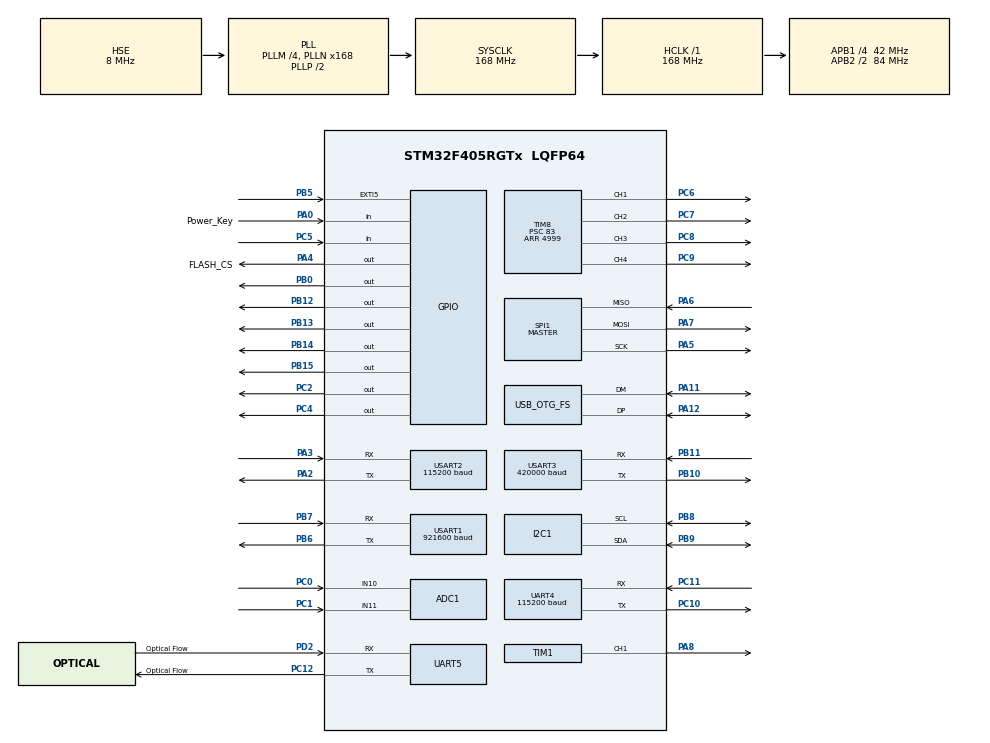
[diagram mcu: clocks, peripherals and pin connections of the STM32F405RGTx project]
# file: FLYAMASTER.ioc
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ADC1.Channel-2\#ChannelRegularConversion=ADC_CHANNEL_10
ADC1.Channel-3\#ChannelRegularConversion=ADC_CHANNEL_10
ADC1.ContinuousConvMode=ENABLE
ADC1.DMAContinuousRequests=ENABLE
ADC1.NbrOfConversion=2
ADC1.NbrOfConversionFlag=1
ADC1.Rank-2\#ChannelRegularConversion=1
ADC1.Rank-3\#ChannelRegularConversion=2
ADC1.SamplingTime-2\#ChannelRegularConversion=ADC_SAMPLETIME_3CYCLES
ADC1.SamplingTime-3\#ChannelRegularConversion=ADC_SAMPLETIME_3CYCLES
ADC1.master=1
Dma.ADC1.2.Direction=DMA_PERIPH_TO_MEMORY
Dma.ADC1.2.FIFOMode=DMA_FIFOMODE_DISABLE
Dma.ADC1.2.Instance=DMA2_Stream4
Dma.ADC1.2.MemDataAlignment=DMA_MDATAALIGN_HALFWORD
Dma.ADC1.2.MemInc=DMA_MINC_ENABLE
Dma.ADC1.2.Mode=DMA_CIRCULAR
Dma.ADC1.2.PeriphDataAlignment=DMA_PDATAALIGN_HALFWORD
Dma.ADC1.2.PeriphInc=DMA_PINC_DISABLE
Dma.ADC1.2.Priority=DMA_PRIORITY_LOW
Dma.Request0=USART1_TX
Dma.Request1=UART4_RX
Dma.Request2=ADC1
Dma.Request3=USART1_RX
Dma.Request4=UART4_TX
Dma.Request5=TIM1_CH1
Dma.Request6=USART3_RX
Dma.Request7=USART3_TX
Dma.Request8=UART5_RX
Dma.Request9=USART2_TX
Dma.TIM1_CH1.5.Direction=DMA_MEMORY_TO_PERIPH
Dma.TIM1_CH1.5.FIFOMode=DMA_FIFOMODE_DISABLE
Dma.TIM1_CH1.5.Instance=DMA2_Stream1
Dma.TIM1_CH1.5.MemDataAlignment=DMA_MDATAALIGN_HALFWORD
Dma.TIM1_CH1.5.MemInc=DMA_MINC_ENABLE
Dma.TIM1_CH1.5.Mode=DMA_NORMAL
Dma.TIM1_CH1.5.PeriphDataAlignment=DMA_PDATAALIGN_HALFWORD
Dma.TIM1_CH1.5.PeriphInc=DMA_PINC_DISABLE
Dma.TIM1_CH1.5.Priority=DMA_PRIORITY_LOW
Dma.UART4_RX.1.Direction=DMA_PERIPH_TO_MEMORY
Dma.UART4_RX.1.FIFOMode=DMA_FIFOMODE_DISABLE
Dma.UART4_RX.1.Instance=DMA1_Stream2
Dma.UART4_RX.1.MemDataAlignment=DMA_MDATAALIGN_BYTE
Dma.UART4_RX.1.MemInc=DMA_MINC_ENABLE
Dma.UART4_RX.1.Mode=DMA_CIRCULAR
Dma.UART4_RX.1.PeriphDataAlignment=DMA_PDATAALIGN_BYTE
Dma.UART4_RX.1.PeriphInc=DMA_PINC_DISABLE
Dma.UART4_RX.1.Priority=DMA_PRIORITY_MEDIUM
Dma.UART4_TX.4.Direction=DMA_MEMORY_TO_PERIPH
Dma.UART4_TX.4.FIFOMode=DMA_FIFOMODE_DISABLE
Dma.UART4_TX.4.Instance=DMA1_Stream4
Dma.UART4_TX.4.MemDataAlignment=DMA_MDATAALIGN_BYTE
Dma.UART4_TX.4.MemInc=DMA_MINC_ENABLE
Dma.UART4_TX.4.Mode=DMA_NORMAL
Dma.UART4_TX.4.PeriphDataAlignment=DMA_PDATAALIGN_BYTE
Dma.UART4_TX.4.PeriphInc=DMA_PINC_DISABLE
Dma.UART4_TX.4.Priority=DMA_PRIORITY_MEDIUM
Dma.UART5_RX.8.Direction=DMA_PERIPH_TO_MEMORY
Dma.UART5_RX.8.FIFOMode=DMA_FIFOMODE_DISABLE
Dma.UART5_RX.8.Instance=DMA1_Stream0
Dma.UART5_RX.8.MemDataAlignment=DMA_MDATAALIGN_BYTE
Dma.UART5_RX.8.MemInc=DMA_MINC_ENABLE
Dma.UART5_RX.8.Mode=DMA_CIRCULAR
Dma.UART5_RX.8.PeriphDataAlignment=DMA_PDATAALIGN_BYTE
Dma.UART5_RX.8.PeriphInc=DMA_PINC_DISABLE
Dma.UART5_RX.8.Priority=DMA_PRIORITY_LOW
Dma.USART1_RX.3.Direction=DMA_PERIPH_TO_MEMORY
Dma.USART1_RX.3.FIFOMode=DMA_FIFOMODE_DISABLE
Dma.USART1_RX.3.Instance=DMA2_Stream2
Dma.USART1_RX.3.MemDataAlignment=DMA_MDATAALIGN_BYTE
Dma.USART1_RX.3.MemInc=DMA_MINC_ENABLE
Dma.USART1_RX.3.Mode=DMA_NORMAL
Dma.USART1_RX.3.PeriphDataAlignment=DMA_PDATAALIGN_BYTE
Dma.USART1_RX.3.PeriphInc=DMA_PINC_DISABLE
Dma.USART1_RX.3.Priority=DMA_PRIORITY_MEDIUM
Dma.USART1_TX.0.Direction=DMA_MEMORY_TO_PERIPH
Dma.USART1_TX.0.FIFOMode=DMA_FIFOMODE_DISABLE
Dma.USART1_TX.0.Instance=DMA2_Stream7
Dma.USART1_TX.0.MemDataAlignment=DMA_MDATAALIGN_BYTE
Dma.USART1_TX.0.MemInc=DMA_MINC_ENABLE
Dma.USART1_TX.0.Mode=DMA_NORMAL
Dma.USART1_TX.0.PeriphDataAlignment=DMA_PDATAALIGN_BYTE
Dma.USART1_TX.0.PeriphInc=DMA_PINC_DISABLE
Dma.USART1_TX.0.Priority=DMA_PRIORITY_LOW
Dma.USART2_TX.9.Direction=DMA_MEMORY_TO_PERIPH
Dma.USART2_TX.9.FIFOMode=DMA_FIFOMODE_DISABLE
Dma.USART2_TX.9.Instance=DMA1_Stream6
Dma.USART2_TX.9.MemDataAlignment=DMA_MDATAALIGN_BYTE
Dma.USART2_TX.9.MemInc=DMA_MINC_ENABLE
Dma.USART2_TX.9.Mode=DMA_NORMAL
Dma.USART2_TX.9.PeriphDataAlignment=DMA_PDATAALIGN_BYTE
Dma.USART2_TX.9.PeriphInc=DMA_PINC_DISABLE
Dma.USART2_TX.9.Priority=DMA_PRIORITY_LOW
Dma.USART3_RX.6.Direction=DMA_PERIPH_TO_MEMORY
Dma.USART3_RX.6.FIFOMode=DMA_FIFOMODE_DISABLE
Dma.USART3_RX.6.Instance=DMA1_Stream1
Dma.USART3_RX.6.MemDataAlignment=DMA_MDATAALIGN_BYTE
Dma.USART3_RX.6.MemInc=DMA_MINC_ENABLE
Dma.USART3_RX.6.Mode=DMA_CIRCULAR
Dma.USART3_RX.6.PeriphDataAlignment=DMA_PDATAALIGN_BYTE
Dma.USART3_RX.6.PeriphInc=DMA_PINC_DISABLE
Dma.USART3_RX.6.Priority=DMA_PRIORITY_VERY_HIGH
Dma.USART3_TX.7.Direction=DMA_MEMORY_TO_PERIPH
Dma.USART3_TX.7.FIFOMode=DMA_FIFOMODE_DISABLE
Dma.USART3_TX.7.Instance=DMA1_Stream3
Dma.USART3_TX.7.MemDataAlignment=DMA_MDATAALIGN_BYTE
Dma.USART3_TX.7.MemInc=DMA_MINC_ENABLE
Dma.USART3_TX.7.Mode=DMA_NORMAL
Dma.USART3_TX.7.PeriphDataAlignment=DMA_PDATAALIGN_BYTE
Dma.USART3_TX.7.PeriphInc=DMA_PINC_DISABLE
Dma.USART3_TX.7.Priority=DMA_PRIORITY_MEDIUM
FREERTOS.Tasks01=defaultTask,24,256,StartDefaultTask,Default,NULL,Dynamic,NULL,NULL;imu_task,48,512,StartTask02,Default,NULL,Dynamic,NULL,NULL;ctl_task,40,1024,StartTask03,Default,NULL,Dynamic,NULL,NULL;log_task,16,1024,StartLogTask,Default,NULL,Dynamic,NULL,NULL;comm_task,24,512,StartCommTask,Default,NULL,Dynamic,NULL,NULL;gps_task,16,512,StartTask06,Default,NULL,Dynamic,NULL,NULL
FREERTOS.configTOTAL_HEAP_SIZE=32768
FREERTOS.configUSE_NEWLIB_REENTRANT=1
Mcu.Family=STM32F4
Mcu.Name=STM32F405RGTx
Mcu.Package=LQFP64
NVIC.DMA1_Stream0_IRQn=true\:5\:0\:false\:false\:true\:true\:false\:true\:true
NVIC.DMA1_Stream1_IRQn=true\:5\:0\:false\:false\:true\:true\:false\:true\:true
NVIC.DMA1_Stream2_IRQn=true\:5\:0\:false\:false\:true\:true\:false\:true\:true
NVIC.DMA1_Stream3_IRQn=true\:5\:0\:false\:false\:true\:true\:false\:true\:true
NVIC.DMA1_Stream4_IRQn=true\:5\:0\:false\:false\:true\:true\:false\:true\:true
NVIC.DMA1_Stream6_IRQn=true\:5\:0\:false\:false\:true\:true\:false\:true\:true
NVIC.DMA2_Stream1_IRQn=true\:5\:0\:false\:false\:true\:true\:false\:true\:true
NVIC.DMA2_Stream2_IRQn=true\:5\:0\:false\:false\:true\:true\:false\:true\:true
NVIC.DMA2_Stream4_IRQn=true\:5\:0\:false\:false\:true\:false\:false\:true\:true
NVIC.DMA2_Stream7_IRQn=true\:5\:0\:false\:false\:true\:true\:false\:true\:true
NVIC.OTG_FS_IRQn=true\:5\:0\:false\:false\:true\:true\:false\:true\:true
NVIC.PriorityGroup=NVIC_PRIORITYGROUP_4
NVIC.TIM4_IRQn=true\:15\:0\:false\:false\:true\:false\:false\:true\:true
NVIC.TimeBase=TIM4_IRQn
NVIC.TimeBaseIP=TIM4
NVIC.UART4_IRQn=true\:6\:0\:true\:false\:true\:true\:true\:true\:true
NVIC.UART5_IRQn=true\:6\:0\:true\:false\:true\:true\:false\:true\:true
NVIC.USART1_IRQn=true\:6\:0\:true\:false\:true\:true\:false\:true\:true
NVIC.USART2_IRQn=true\:6\:0\:true\:false\:true\:true\:true\:true\:true
NVIC.USART3_IRQn=true\:5\:0\:false\:false\:true\:true\:true\:true\:true
PA0-WKUP.GPIO_Label=Power_Key
PA0-WKUP.GPIO_PuPd=GPIO_PULLDOWN
PA0-WKUP.Signal=GPIO_Input
PA11.Mode=Device_Only
PA11.Signal=USB_OTG_FS_DM
PA12.Mode=Device_Only
PA12.Signal=USB_OTG_FS_DP
PA13.Mode=Serial_Wire
PA13.Signal=SYS_JTMS-SWDIO
PA14.Mode=Serial_Wire
PA14.Signal=SYS_JTCK-SWCLK
PA2.Mode=Asynchronous
PA2.Signal=USART2_TX
PA3.Mode=Asynchronous
PA3.Signal=USART2_RX
PA4.GPIO_Label=FLASH_CS
PA4.GPIO_Speed=GPIO_SPEED_FREQ_HIGH
PA4.Signal=GPIO_Output
PA5.Mode=Full_Duplex_Master
PA5.Signal=SPI1_SCK
PA6.Mode=Full_Duplex_Master
PA6.Signal=SPI1_MISO
PA7.Mode=Full_Duplex_Master
PA7.Signal=SPI1_MOSI
PA8.Signal=S_TIM1_CH1
PB0.GPIO_Speed=GPIO_SPEED_FREQ_HIGH
PB0.Signal=GPIO_Output
PB10.GPIO_PuPd=GPIO_PULLUP
PB10.Mode=Asynchronous
PB10.Signal=USART3_TX
PB11.GPIO_PuPd=GPIO_PULLUP
PB11.Mode=Asynchronous
PB11.Signal=USART3_RX
PB12.Signal=GPIO_Output
PB13.PinState=GPIO_PIN_SET
PB13.Signal=GPIO_Output
PB14.PinState=GPIO_PIN_SET
PB14.Signal=GPIO_Output
PB15.PinState=GPIO_PIN_SET
PB15.Signal=GPIO_Output
PB5.GPIO_PuPd=GPIO_NOPULL
PB5.Signal=GPXTI5
PB6.Mode=Asynchronous
PB6.Signal=USART1_TX
PB7.Mode=Asynchronous
PB7.Signal=USART1_RX
PB8.Mode=I2C
PB8.Signal=I2C1_SCL
PB9.Mode=I2C
PB9.Signal=I2C1_SDA
PC0.Signal=ADCx_IN10
PC1.Signal=ADCx_IN11
PC10.Mode=Asynchronous
PC10.Signal=UART4_TX
PC11.Mode=Asynchronous
PC11.Signal=UART4_RX
PC12.GPIO_Label=Optical Flow
PC12.Mode=Asynchronous
PC12.Signal=UART5_TX
PC2.Signal=GPIO_Output
PC4.GPIO_Speed=GPIO_SPEED_FREQ_HIGH
PC4.Signal=GPIO_Output
PC5.Signal=GPIO_Input
PC6.Signal=S_TIM8_CH1
PC7.Signal=S_TIM8_CH2
PC8.Signal=S_TIM8_CH3
PC9.Signal=S_TIM8_CH4
PD2.GPIO_Label=Optical Flow
PD2.Mode=Asynchronous
PD2.Signal=UART5_RX
PH0-OSC_IN.Mode=HSE-External-Oscillator
PH0-OSC_IN.Signal=RCC_OSC_IN
PH1-OSC_OUT.Mode=HSE-External-Oscillator
PH1-OSC_OUT.Signal=RCC_OSC_OUT
ProjectManager.HeapSize=0x200
ProjectManager.StackSize=0x400
ProjectManager.TargetToolchain=MDK-ARM V5.32
RCC.48MHZClocksFreq_Value=48000000
RCC.AHBFreq_Value=168000000
RCC.APB1CLKDivider=RCC_HCLK_DIV4
RCC.APB1Freq_Value=42000000
RCC.APB1TimFreq_Value=84000000
RCC.APB2CLKDivider=RCC_HCLK_DIV2
RCC.APB2Freq_Value=84000000
RCC.APB2TimFreq_Value=168000000
RCC.CortexFreq_Value=168000000
RCC.HCLKFreq_Value=168000000
RCC.HSE_VALUE=8000000
RCC.HSI_VALUE=16000000
RCC.LSE_VALUE=32768
RCC.PLLM=4
RCC.PLLN=168
RCC.PLLQ=7
RCC.SYSCLKFreq_VALUE=168000000
RCC.SYSCLKSource=RCC_SYSCLKSOURCE_PLLCLK
RCC.VCOOutputFreq_Value=336000000
SH.ADCx_IN10.0=ADC1_IN10,IN10
SH.ADCx_IN11.0=ADC1_IN11,IN11
SH.S_TIM1_CH1.0=TIM1_CH1,PWM Generation1 CH1
SH.S_TIM8_CH1.0=TIM8_CH1,PWM Generation1 CH1
SH.S_TIM8_CH2.0=TIM8_CH2,PWM Generation2 CH2
SH.S_TIM8_CH3.0=TIM8_CH3,PWM Generation3 CH3
SH.S_TIM8_CH4.0=TIM8_CH4,PWM Generation4 CH4
SPI1.Direction=SPI_DIRECTION_2LINES
SPI1.Mode=SPI_MODE_MASTER
SPI1.VirtualType=VM_MASTER
TIM1.Channel-PWM\ Generation1\ CH1=TIM_CHANNEL_1
TIM1.Period=209
TIM8.Channel-PWM\ Generation1\ CH1=TIM_CHANNEL_1
TIM8.Channel-PWM\ Generation2\ CH2=TIM_CHANNEL_2
TIM8.Channel-PWM\ Generation3\ CH3=TIM_CHANNEL_3
TIM8.Channel-PWM\ Generation4\ CH4=TIM_CHANNEL_4
TIM8.Period=4999
TIM8.Prescaler=83
UART4.BaudRate=115200
UART4.Parity=PARITY_NONE
UART4.StopBits=UART_STOPBITS_1
UART4.VirtualMode=Asynchronous
UART4.WordLength=WORDLENGTH_8B
UART5.VirtualMode=Asynchronous
USART1.BaudRate=921600
USART1.VirtualMode=VM_ASYNC
USART2.BaudRate=115200
USART2.Parity=PARITY_NONE
USART2.StopBits=STOPBITS_1
USART2.VirtualMode=VM_ASYNC
USART2.WordLength=WORDLENGTH_8B
USART3.BaudRate=420000
USART3.VirtualMode=VM_ASYNC
USB_DEVICE.CLASS_NAME_FS=CDC
USB_DEVICE.VirtualMode-CDC_FS=Cdc
USB_DEVICE.VirtualModeFS=Cdc_FS
USB_OTG_FS.VirtualMode=Device_Only
VP_FREERTOS_VS_CMSIS_V2.Mode=CMSIS_V2
VP_SYS_VS_tim4.Mode=TIM4
VP_USB_DEVICE_VS_USB_DEVICE_CDC_FS.Mode=CDC_FS
board=custom

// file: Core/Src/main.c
/* USER CODE BEGIN Header */
/**
  ******************************************************************************
  * @file           : main.c
  * @brief          : Main program body
  ******************************************************************************
  * @attention
  *
  * Copyright (c) 2026 STMicroelectronics.
  * All rights reserved.
  *
  * This software is licensed under terms that can be found in the LICENSE file
  * in the root directory of this software component.
  * If no LICENSE file comes with this software, it is provided AS-IS.
  *
  ******************************************************************************
  */
/* USER CODE END Header */
#include "main.h"
#include "cmsis_os.h"
#include "adc.h"
#include "dma.h"
#include "i2c.h"
#include "spi.h"
#include "tim.h"
#include "usart.h"
#include "usb_device.h"
#include "gpio.h"

void SystemClock_Config(void);
void MX_FREERTOS_Init(void);

int main(void)
{

  /* MCU Configuration--------------------------------------------------------*/

  /* Reset of all peripherals, Initializes the Flash interface and the Systick. */
  HAL_Init();

  /* Configure the system clock */
  SystemClock_Config();

  /* Initialize all configured peripherals */
  MX_GPIO_Init();
  MX_DMA_Init();
  MX_ADC1_Init();
  MX_I2C1_Init();
  MX_SPI1_Init();
  MX_UART4_Init();
  MX_UART5_Init();
  MX_USART1_UART_Init();
  MX_USART2_UART_Init();
  MX_TIM8_Init();
  MX_TIM1_Init();
  MX_USART3_UART_Init();

  /* Init scheduler */
  osKernelInitialize();  /* Call init function for freertos objects (in cmsis_os2.c) */
  MX_FREERTOS_Init();

  /* Start scheduler */
  osKernelStart();

  /* We should never get here as control is now taken by the scheduler */

  /* Infinite loop */
  while (1)
  {

  }
}

void SystemClock_Config(void)
{
  RCC_OscInitTypeDef RCC_OscInitStruct = {0};
  RCC_ClkInitTypeDef RCC_ClkInitStruct = {0};

  /** Configure the main internal regulator output voltage
  */
  __HAL_RCC_PWR_CLK_ENABLE();
  __HAL_PWR_VOLTAGESCALING_CONFIG(PWR_REGULATOR_VOLTAGE_SCALE1);

  /** Initializes the RCC Oscillators according to the specified parameters
  * in the RCC_OscInitTypeDef structure.
  */
  RCC_OscInitStruct.OscillatorType = RCC_OSCILLATORTYPE_HSE;
  RCC_OscInitStruct.HSEState = RCC_HSE_ON;
  RCC_OscInitStruct.PLL.PLLState = RCC_PLL_ON;
  RCC_OscInitStruct.PLL.PLLSource = RCC_PLLSOURCE_HSE;
  RCC_OscInitStruct.PLL.PLLM = 4;
  RCC_OscInitStruct.PLL.PLLN = 168;
  RCC_OscInitStruct.PLL.PLLP = RCC_PLLP_DIV2;
  RCC_OscInitStruct.PLL.PLLQ = 7;
  if (HAL_RCC_OscConfig(&RCC_OscInitStruct) != HAL_OK)
  {
    Error_Handler();
  }

  /** Initializes the CPU, AHB and APB buses clocks
  */
  RCC_ClkInitStruct.ClockType = RCC_CLOCKTYPE_HCLK|RCC_CLOCKTYPE_SYSCLK
                              |RCC_CLOCKTYPE_PCLK1|RCC_CLOCKTYPE_PCLK2;
  RCC_ClkInitStruct.SYSCLKSource = RCC_SYSCLKSOURCE_PLLCLK;
  RCC_ClkInitStruct.AHBCLKDivider = RCC_SYSCLK_DIV1;
  RCC_ClkInitStruct.APB1CLKDivider = RCC_HCLK_DIV4;
  RCC_ClkInitStruct.APB2CLKDivider = RCC_HCLK_DIV2;

  if (HAL_RCC_ClockConfig(&RCC_ClkInitStruct, FLASH_LATENCY_5) != HAL_OK)
  {
    Error_Handler();
  }
}

void HAL_TIM_PeriodElapsedCallback(TIM_HandleTypeDef *htim)
{
  if (htim->Instance == TIM4)
  {
    HAL_IncTick();
  }
}

void Error_Handler(void)
{
  __disable_irq();
  while (1)
  {
  }
}

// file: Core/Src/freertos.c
/* USER CODE BEGIN Header */
/**
  ******************************************************************************
  * File Name          : freertos.c
  * Description        : Code for freertos applications
  ******************************************************************************
  * @attention
  *
  * Copyright (c) 2026 STMicroelectronics.
  * All rights reserved.
  *
  * This software is licensed under terms that can be found in the LICENSE file
  * in the root directory of this software component.
  * If no LICENSE file comes with this software, it is provided AS-IS.
  *
  ******************************************************************************
  */
/* USER CODE END Header */

#include "FreeRTOS.h"
#include "task.h"
#include "main.h"
#include "cmsis_os.h"

/* USER CODE BEGIN Includes */
#include "mpu6050.h"
#include "mahony.h"
#include "crsf.h"
#include "flight_control.h"
#include "ring_buffer.h"
#include "gps.h"
#include "at7456e.h"
#include "battery.h"
#include "qmc5883l.h"
#include "led_indicator.h"
#include "smartaudio.h"
#include "w25qxx.h"
/* USER CODE END Includes */

/* USER CODE BEGIN PD */
#define IMU_TASK_PERIOD_MS      2       /* 500Hz */
#define CTL_TASK_PERIOD_MS      4       /* 250Hz */
#define LOG_TASK_PERIOD_MS      10      /* 100Hz */
#define COMM_TASK_PERIOD_MS     100     /* 10Hz */
#define GPS_TASK_PERIOD_MS      100     /* 10Hz */
#define DEFAULT_TASK_PERIOD_MS  100     /* 10Hz (电池监控需要更高频率) */
#define MAG_UPDATE_DIVIDER      5       /* 磁力计更新分频 (500Hz / 5 = 100Hz) */

/* 蜂鸣器报警模式 */
#define BUZZER_OFF              0
#define BUZZER_WARNING          1       /* 低电压警告：间歇鸣叫 */
#define BUZZER_CRITICAL         2       /* 电压临界：急促鸣叫 */
#define BUZZER_OVERCURRENT      3       /* 过流：连续鸣叫 */
/* USER CODE END PD */

/* USER CODE BEGIN Variables */
static uint32_t imu_task_counter = 0;
static uint32_t ctl_task_counter = 0;
static uint32_t log_task_counter = 0;
static uint32_t default_task_counter = 0;
static uint8_t buzzer_mode = BUZZER_OFF;

/* I2C1 互斥锁句柄 (MPU6050 和 SPL06 共享) */
osMutexId_t i2c1MutexHandle = NULL;
/* USER CODE END Variables */
/* Definitions for defaultTask */
osThreadId_t defaultTaskHandle;
const osThreadAttr_t defaultTask_attributes = {
  .name = "defaultTask",
  .stack_size = 256 * 4,
  .priority = (osPriority_t) osPriorityNormal,
};
/* Definitions for imu_task */
osThreadId_t imu_taskHandle;
const osThreadAttr_t imu_task_attributes = {
  .name = "imu_task",
  .stack_size = 512 * 4,
  .priority = (osPriority_t) osPriorityRealtime,
};
/* Definitions for ctl_task */
osThreadId_t ctl_taskHandle;
const osThreadAttr_t ctl_task_attributes = {
  .name = "ctl_task",
  .stack_size = 1024 * 4,
  .priority = (osPriority_t) osPriorityHigh,
};
/* Definitions for log_task */
osThreadId_t log_taskHandle;
const osThreadAttr_t log_task_attributes = {
  .name = "log_task",
  .stack_size = 1024 * 4,
  .priority = (osPriority_t) osPriorityBelowNormal,
};
/* Definitions for comm_task */
osThreadId_t comm_taskHandle;
const osThreadAttr_t comm_task_attributes = {
  .name = "comm_task",
  .stack_size = 512 * 4,
  .priority = (osPriority_t) osPriorityNormal,
};
/* Definitions for gps_task */
osThreadId_t gps_taskHandle;
const osThreadAttr_t gps_task_attributes = {
  .name = "gps_task",
  .stack_size = 512 * 4,
  .priority = (osPriority_t) osPriorityBelowNormal,
};

/* USER CODE BEGIN FunctionPrototypes */
static void LED_UpdateAll(void);
static void Battery_Check(void);
/* USER CODE END FunctionPrototypes */

void StartDefaultTask(void *argument);
void StartTask02(void *argument);
void StartTask03(void *argument);
void StartLogTask(void *argument);
void StartCommTask(void *argument);
void StartTask06(void *argument);

extern void MX_USB_DEVICE_Init(void);
void MX_FREERTOS_Init(void); /* (MISRA C 2004 rule 8.1) */

void MX_FREERTOS_Init(void) {

  /* USER CODE BEGIN RTOS_MUTEX */
    /* I2C1 互斥锁 (MPU6050 和 SPL06 共享) */
    const osMutexAttr_t i2c1Mutex_attributes = {
      .name = "i2c1Mutex",
      .attr_bits = osMutexRecursive | osMutexPrioInherit,
      .cb_mem = NULL,
      .cb_size = 0
    };
    i2c1MutexHandle = osMutexNew(&i2c1Mutex_attributes);
  /* USER CODE END RTOS_MUTEX */

  /* Create the thread(s) */
  /* creation of defaultTask */
  defaultTaskHandle = osThreadNew(StartDefaultTask, NULL, &defaultTask_attributes);

  /* creation of imu_task */
  imu_taskHandle = osThreadNew(StartTask02, NULL, &imu_task_attributes);

  /* creation of ctl_task */
  ctl_taskHandle = osThreadNew(StartTask03, NULL, &ctl_task_attributes);

  /* creation of log_task */
  log_taskHandle = osThreadNew(StartLogTask, NULL, &log_task_attributes);

  /* creation of comm_task */
  comm_taskHandle = osThreadNew(StartCommTask, NULL, &comm_task_attributes);

  /* creation of gps_task */
  gps_taskHandle = osThreadNew(StartTask06, NULL, &gps_task_attributes);

}

void StartDefaultTask(void *argument)
{
  /* init code for USB_DEVICE */
  MX_USB_DEVICE_Init();
  /* USER CODE BEGIN StartDefaultTask */

  /* 系统监控任务：LED 指示灯、电池检测、看门狗 */
  TickType_t xLastWakeTime = xTaskGetTickCount();

  /* 初始化 LED 指示灯系统 */
  LED_Init();

  /* 启动 LED 自检灯效 */
  LED_StartSelfTest();

  /* 初始化电池监控 (启动 ADC DMA) */
  Battery_Init();

  /* 等待 ADC 稳定 + LED 自检完成 */
  osDelay(100);

  /* 等待 LED 自检完成 */
  while (!LED_IsSelfTestDone()) {
    LED_Update(HAL_GetTick());
    osDelay(10);
  }

  /* 自动检测电池节数 */
  Battery_AutoDetectCells();

  /* 设置初始 LED 状态 (4 颗 LED: SYS, MODE, GPS, VTX) */
  LED_SetSysState(SYS_STATE_STANDBY);
  LED_SetModeState(MODE_STATE_ANGLE);
  LED_SetGpsState(GPS_STATE_NONE);
  LED_SetVtxState(VTX_STATE_NORMAL);

  /* Infinite loop */
  for(;;)
  {
    /* 更新电池数据 (dt = 0.1s @ 10Hz) */
    Battery_Update(0.1f);

    /* 更新所有 LED 状态 */
    LED_UpdateAll();

    /* LED 闪烁更新 */
    LED_Update(HAL_GetTick());

    /* 电池状态检测与报警 */
    Battery_Check();

    /* 喂狗 (如果启用了 IWDG) */
    /* HAL_IWDG_Refresh(&hiwdg); */

    /* 计数器 */
    default_task_counter++;

    /* 周期性延时 */
    vTaskDelayUntil(&xLastWakeTime, pdMS_TO_TICKS(DEFAULT_TASK_PERIOD_MS));
  }
  /* USER CODE END StartDefaultTask */
}

void StartTask02(void *argument)
{
  /* USER CODE BEGIN StartTask02 */

  /* IMU 任务：传感器读取 + 姿态解算 (500Hz) */
  TickType_t xLastWakeTime = xTaskGetTickCount();
  static uint8_t mag_divider = 0;

  /* 初始化 MPU6050 */
  MPU6050_Init();

  /* 初始化 QMC5883L 磁力计 (I2C2 独立总线) */
  QMC5883L_Init();

  /* 等待传感器稳定 */
  osDelay(100);

  /* 校准陀螺仪 */
  MPU6050_CalibrateGyro(500);

  /* 初始化 Mahony 滤波器 (使用默认参数) */
  Mahony_InitDefault();

  /* Infinite loop */
  for(;;)
  {
    /* 触发 DMA 读取 MPU6050 */
    MPU6050_ReadDMA();

    /* 等待 DMA 完成 (通过信号量或短延时) */
    osDelay(1);

    /* 处理 DMA 数据 */
    MPU6050_ProcessDMAData();

    /* 磁力计更新 (100Hz，每 5 次 IMU 更新读取一次) */
    mag_divider++;
    if (mag_divider >= MAG_UPDATE_DIVIDER) {
      mag_divider = 0;
      if (g_qmc5883l_data.initialized) {
        QMC5883L_Read();
      }
    }

    /* Mahony 姿态解算 (自动融合磁力计数据) */
    Mahony_Update();

    /* 计数器 */
    imu_task_counter++;

    /* 周期性延时 */
    vTaskDelayUntil(&xLastWakeTime, pdMS_TO_TICKS(IMU_TASK_PERIOD_MS));
  }
  /* USER CODE END StartTask02 */
}

void StartTask03(void *argument)
{
  /* USER CODE BEGIN StartTask03 */

  /* 控制任务：CRSF/ELRS 解析 + PID 计算 + 电机混控 (250Hz) */
  TickType_t xLastWakeTime = xTaskGetTickCount();

  /* 初始化 CRSF (ELRS 接收机) */
  CRSF_Init();

  /* 初始化飞行控制 */
  FC_Init();

  /* 等待 IMU 初始化完成 */
  osDelay(500);

  /* Infinite loop */
  for(;;)
  {
    /* 处理 CRSF 数据 */
    CRSF_Process();

    /* 飞行控制主循环 */
    FC_Update();

    /* 计数器 */
    ctl_task_counter++;

    /* 周期性延时 */
    vTaskDelayUntil(&xLastWakeTime, pdMS_TO_TICKS(CTL_TASK_PERIOD_MS));
  }
  /* USER CODE END StartTask03 */
}

void StartLogTask(void *argument)
{
  /* USER CODE BEGIN StartLogTask */

  /* 日志任务：异步日志发送 (100Hz) */
  TickType_t xLastWakeTime = xTaskGetTickCount();

  /* 初始化日志系统 */
  Log_Init();

  /* Infinite loop */
  for(;;)
  {
    /* 尝试启动 DMA 发送 */
    Log_StartDMATransmit();

    /* 定期输出飞行数据 */
    if (log_task_counter % 10 == 0) {  /* 每 100ms */
      Log_Printf("R:%.1f,P:%.1f,Y:%.1f,T:%.2f\r\n",
                 g_mahony.euler.roll,
                 g_mahony.euler.pitch,
                 g_mahony.euler.yaw,
                 g_rc_data.throttle);
    }

    /* 计数器 */
    log_task_counter++;

    /* 周期性延时 */
    vTaskDelayUntil(&xLastWakeTime, pdMS_TO_TICKS(LOG_TASK_PERIOD_MS));
  }
  /* USER CODE END StartLogTask */
}

void StartCommTask(void *argument)
{
  /* USER CODE BEGIN StartCommTask */

  /* 通信任务：OSD 刷新 + 上位机协议 (10Hz) */
  TickType_t xLastWakeTime = xTaskGetTickCount();

  /* 初始化 OSD */
  AT7456E_Init();

  /* Infinite loop */
  for(;;)
  {
    /* 更新 OSD 显示 */
    AT7456E_ClearScreen();

    /* ===== 第一行：电池信息 ===== */
    /* 电压 */
    AT7456E_WriteFloat(1, 1, g_battery.voltage, 1);
    AT7456E_WriteString(5, 1, "V");

    /* 电流 */
    AT7456E_WriteFloat(7, 1, g_battery.current, 1);
    AT7456E_WriteString(11, 1, "A");

    /* 已消耗 mAh */
    AT7456E_WriteInt(14, 1, (int)g_battery.mah_drawn, 0);
    AT7456E_WriteString(18, 1, "mAh");

    /* ===== 第二行：姿态信息 ===== */
    AT7456E_WriteString(1, 2, "R:");
    AT7456E_WriteFloat(3, 2, g_mahony.euler.roll, 1);

    AT7456E_WriteString(10, 2, "P:");
    AT7456E_WriteFloat(12, 2, g_mahony.euler.pitch, 1);

    /* ===== 第三行：飞行状态 ===== */
    /* 解锁状态 */
    if (FC_IsArmed()) {
      AT7456E_WriteString(1, 3, "ARMED");
    } else {
      AT7456E_WriteString(1, 3, "DISARM");
    }

    /* 飞行模式 */
    switch (FC_GetMode()) {
      case FC_MODE_STABILIZE:
        AT7456E_WriteString(10, 3, "STAB");
        break;
      case FC_MODE_ACRO:
        AT7456E_WriteString(10, 3, "ACRO");
        break;
      default:
        AT7456E_WriteString(10, 3, "----");
        break;
    }

    /* RSSI 信号强度 (Link Quality) */
    AT7456E_WriteString(16, 3, "LQ:");
    AT7456E_WriteInt(19, 3, g_rc_data.link_quality, 0);

    /* ===== 第四行：警告信息 ===== */
    if (g_battery.status == BATTERY_CRITICAL) {
      AT7456E_WriteString(1, 4, "!!! LOW BATTERY !!!");
    } else if (g_battery.status == BATTERY_OVERCURRENT) {
      AT7456E_WriteString(1, 4, "!!! OVERCURRENT !!!");
    } else if (g_fc_data.failsafe_active) {
      AT7456E_WriteString(1, 4, "!!! FAILSAFE !!!");
    } else if (g_battery.status == BATTERY_WARNING) {
      AT7456E_WriteString(1, 4, "LOW BATT WARNING");
    }

    /* 周期性延时 */
    vTaskDelayUntil(&xLastWakeTime, pdMS_TO_TICKS(COMM_TASK_PERIOD_MS));
  }
  /* USER CODE END StartCommTask */
}

void StartTask06(void *argument)
{
  /* USER CODE BEGIN StartTask06 */

  /* GPS 任务：NMEA 解析 + 位置计算 (10Hz) */
  TickType_t xLastWakeTime = xTaskGetTickCount();

  /* 初始化 GPS */
  GPS_Init();

  /* Infinite loop */
  for(;;)
  {
    /* 处理 GPS 数据 */
    GPS_Process();

    /* 周期性延时 */
    vTaskDelayUntil(&xLastWakeTime, pdMS_TO_TICKS(GPS_TASK_PERIOD_MS));
  }
  /* USER CODE END StartTask06 */
}

/* USER CODE BEGIN Application */

/**
 * @brief 更新所有 LED 状态 (根据系统状态自动设置)
 * @note 4 颗 LED: LED_SYS (PB12), LED_MODE (PB13), LED_GPS (PB14), LED_VTX (PB15)
 */
static void LED_UpdateAll(void)
{
  /* ===== LED_SYS (PB12): 系统状态 ===== */
  if (FC_IsArmed()) {
    if (g_fc_data.state == FC_STATE_FLYING) {
      LED_SetSysState(SYS_STATE_FLYING);
    } else {
      LED_SetSysState(SYS_STATE_ARMED);
    }
  } else {
    LED_SetSysState(SYS_STATE_STANDBY);
  }

  /* ===== LED_MODE (PB13): 飞行模式 ===== */
  switch (FC_GetMode()) {
    case FC_MODE_ACRO:
      LED_SetModeState(MODE_STATE_ACRO);
      break;
    case FC_MODE_RTH:
      LED_SetModeState(MODE_STATE_RTH);
      break;
    default:
      LED_SetModeState(MODE_STATE_ANGLE);
      break;
  }

  /* ===== LED_GPS (PB14): GPS 状态 ===== */
  if (g_gps_data.fix_quality >= GPS_FIX_GPS && g_gps_data.satellites >= 6) {
    LED_SetGpsState(GPS_STATE_LOCKED);
  } else if (g_gps_data.satellites > 0) {
    LED_SetGpsState(GPS_STATE_SEARCHING);
  } else {
    LED_SetGpsState(GPS_STATE_NONE);
  }

  /* ===== LED_VTX (PB15): 图传/警告状态 ===== */
  /* 优先显示警告状态 */
  if (g_fc_data.failsafe_active || g_battery.status == BATTERY_CRITICAL) {
    LED_SetVtxState(VTX_STATE_WARNING);
  } else if (g_battery.status == BATTERY_WARNING) {
    LED_SetVtxState(VTX_STATE_WARNING);
  } else {
    /* TODO: 根据 SmartAudio PIT 模式更新 */
    LED_SetVtxState(VTX_STATE_NORMAL);
  }
}

/**
 * @brief 电池状态检测与蜂鸣器报警
 */
static void Battery_Check(void)
{
  static uint8_t beep_counter = 0;

  /* 根据电池状态设置报警模式 */
  Battery_Status_t status = Battery_GetStatus();

  switch (status) {
    case BATTERY_OVERCURRENT:
      buzzer_mode = BUZZER_OVERCURRENT;
      break;
    case BATTERY_CRITICAL:
      buzzer_mode = BUZZER_CRITICAL;
      break;
    case BATTERY_WARNING:
      buzzer_mode = BUZZER_WARNING;
      break;
    default:
      buzzer_mode = BUZZER_OFF;
      break;
  }

  /* 蜂鸣器控制 */
  beep_counter++;

  switch (buzzer_mode) {
    case BUZZER_OFF:
      HAL_GPIO_WritePin(BUZZER_GPIO_Port, BUZZER_Pin, GPIO_PIN_RESET);
      break;

    case BUZZER_WARNING:
      /* 低电压警告：每 2 秒响 0.5 秒 (20 次循环) */
      if (beep_counter % 20 < 5) {
        HAL_GPIO_WritePin(BUZZER_GPIO_Port, BUZZER_Pin, GPIO_PIN_SET);
      } else {
        HAL_GPIO_WritePin(BUZZER_GPIO_Port, BUZZER_Pin, GPIO_PIN_RESET);
      }
      break;

    case BUZZER_CRITICAL:
      /* 电压临界：每 0.5 秒响 0.25 秒 (5 次循环) */
      if (beep_counter % 5 < 2) {
        HAL_GPIO_WritePin(BUZZER_GPIO_Port, BUZZER_Pin, GPIO_PIN_SET);
      } else {
        HAL_GPIO_WritePin(BUZZER_GPIO_Port, BUZZER_Pin, GPIO_PIN_RESET);
      }
      break;

    case BUZZER_OVERCURRENT:
      /* 过流：连续鸣叫 */
      HAL_GPIO_WritePin(BUZZER_GPIO_Port, BUZZER_Pin, GPIO_PIN_SET);
      break;
  }

  /* 失控保护也触发报警 */
  if (g_fc_data.failsafe_active) {
    /* 失控：快速交替鸣叫 */
    if (beep_counter % 2 == 0) {
      HAL_GPIO_WritePin(BUZZER_GPIO_Port, BUZZER_Pin, GPIO_PIN_SET);
    } else {
      HAL_GPIO_WritePin(BUZZER_GPIO_Port, BUZZER_Pin, GPIO_PIN_RESET);
    }
  }
}

/* USER CODE END Application */
